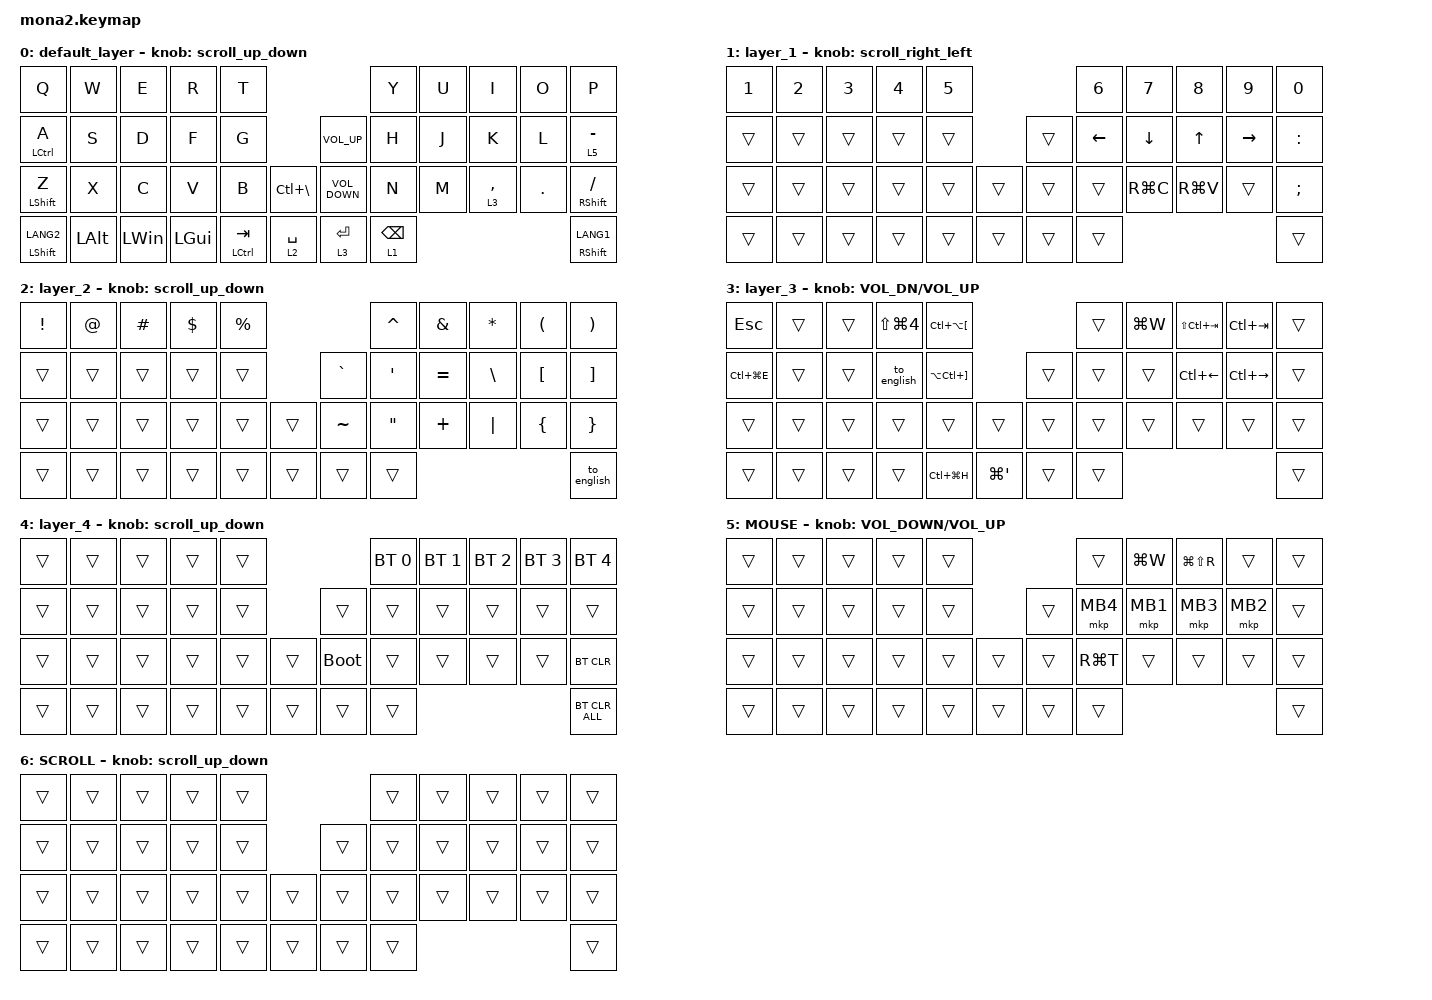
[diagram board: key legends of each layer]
#include <input/processors.dtsi>
#include <dt-bindings/zmk/input_transform.h>
#include <zephyr/dt-bindings/input/input-event-codes.h>
#include <behaviors.dtsi>
#include <dt-bindings/zmk/bt.h>
#include <dt-bindings/zmk/keys.h>
#include <dt-bindings/zmk/pointing.h>

#define ZMK_POINTING_DEFAULT_SCRL_VAL 100
#define MOUSE 5
#define SCROLL 6

&mt {
    flavor = "balanced";
    quick-tap-ms = <0>;
};

&lt {
    quick-tap-ms = <300>;
    flavor = "balanced";
    tapping-term-ms = <250>;
};

/ {
    combos {
        compatible = "zmk,combos";

        layer4_ESC {
            bindings = <&lt 4 ESC>;
            key-positions = <39 38>;
        };

        tab {
            bindings = <&kp TAB>;
            key-positions = <11 12>;
        };

        mission_control {
            bindings = <&kp LC(UP_ARROW)>;
            key-positions = <18 19>;
        };
    };

    macros {
        to_layer_0: to_layer_0 {
            compatible = "zmk,behavior-macro-one-param";
            #binding-cells = <1>;
            bindings = <&to 0 &macro_param_1to1 &kp MACRO_PLACEHOLDER>;
            label = "TO_LAYER_0";
        };

        to_english: to_english {
            compatible = "zmk,behavior-macro";
            #binding-cells = <0>;
            bindings = <&kp F10>;
            label = "TO_ENGLISH";
        };
    };

    behaviors {
        lt_to_layer_0: lt_to_layer_0 {
            compatible = "zmk,behavior-hold-tap";
            label = "LAYER_TAP_TO_0";
            bindings = <&mo>, <&to_layer_0>;

            #binding-cells = <2>;
            tapping-term-ms = <250>;
        };

        scroll_up_down: mouse_wheel_up_down {
            compatible = "zmk,behavior-sensor-rotate";
            #sensor-binding-cells = <0>;
            bindings = <&msc SCRL_DOWN>, <&msc SCRL_UP>;

            tap-ms = <20>;
        };

        scroll_right_left: mouse_wheel_right_left {
            compatible = "zmk,behavior-sensor-rotate";
            #sensor-binding-cells = <0>;
            bindings = <&msc SCRL_LEFT>, <&msc SCRL_RIGHT>;

            tap-ms = <20>;
        };
    };

    keymap {
        compatible = "zmk,keymap";

        default_layer {
            bindings = <
&kp Q                 &kp W         &kp E     &kp R         &kp T                                                  &kp Y            &kp U  &kp I        &kp O    &kp P
&mt LCTRL A           &kp S         &kp D     &kp F         &kp G                               &kp C_VOLUME_UP    &kp H            &kp J  &kp K        &kp L    &lt 5 MINUS
&mt LEFT_SHIFT Z      &kp X         &kp C     &kp V         &kp B          &kp LC(BACKSLASH)    &kp C_VOLUME_DOWN  &kp N            &kp M  &lt 3 COMMA  &kp DOT  &mt RIGHT_SHIFT SLASH
&mt LEFT_SHIFT LANG2  &kp LEFT_ALT  &kp LWIN  &kp LEFT_GUI  &mt LCTRL TAB  &lt 2 SPACE          &lt 3 ENTER        &lt 1 BACKSPACE                               &mt RIGHT_SHIFT LANG1
            >;

            sensor-bindings = <&scroll_up_down>;
        };

        layer_1 {
            bindings = <
&kp NUMBER_1  &kp NUMBER_2  &kp NUMBER_3  &kp NUMBER_4  &kp NUMBER_5                    &kp NUMBER_6  &kp NUMBER_7  &kp NUMBER_8  &kp NUMBER_9  &kp NUMBER_0
&trans        &trans        &trans        &trans        &trans                  &trans  &kp LEFT      &kp DOWN      &kp UP_ARROW  &kp RIGHT     &kp COLON
&trans        &trans        &trans        &trans        &trans        &trans    &trans  &trans        &kp RG(C)     &kp RG(V)     &trans        &kp SEMICOLON
&trans        &trans        &trans        &trans        &trans        &trans    &trans  &trans                                                  &trans
            >;

            sensor-bindings = <&scroll_right_left>;
        };

        layer_2 {
            bindings = <
&kp EXCLAMATION  &kp AT_SIGN  &kp POUND  &kp DOLLAR  &kp PERCENT                       &kp CARET          &kp AMPERSAND  &kp ASTERISK   &kp LEFT_PARENTHESIS  &kp RIGHT_PARENTHESIS
&trans           &trans       &trans     &trans      &trans                 &kp GRAVE  &kp SINGLE_QUOTE   &kp EQUAL      &kp BACKSLASH  &kp LEFT_BRACKET      &kp RIGHT_BRACKET
&trans           &trans       &trans     &trans      &trans       &trans    &kp TILDE  &kp DOUBLE_QUOTES  &kp PLUS       &kp PIPE       &kp LEFT_BRACE        &kp RIGHT_BRACE
&trans           &trans       &trans     &trans      &trans       &trans    &trans     &trans                                                                 &to_english
            >;

            sensor-bindings = <&scroll_up_down>;
        };

        layer_3 {
            bindings = <
&kp ESCAPE     &trans  &trans  &kp LS(LG(NUMBER_4))  &kp LC(LA(LEFT_BRACKET))                                   &trans  &kp LG(W)  &kp LS(LC(TAB))  &kp LC(TAB)          &trans
&kp LC(LG(E))  &trans  &trans  &to_english           &kp LA(LC(RIGHT_BRACKET))                          &trans  &trans  &trans     &kp LC(LEFT)     &kp LC(RIGHT_ARROW)  &trans
&trans         &trans  &trans  &trans                &trans                     &trans                  &trans  &trans  &trans     &trans           &trans               &trans
&trans         &trans  &trans  &trans                &kp LC(LG(H))              &kp LG(SINGLE_QUOTE)    &trans  &trans                                                   &trans
            >;

            sensor-bindings = <&inc_dec_kp C_VOL_DN C_VOL_UP>;
        };

        layer_4 {
            bindings = <
&trans  &trans  &trans  &trans  &trans                         &bt BT_SEL 0  &bt BT_SEL 1  &bt BT_SEL 2  &bt BT_SEL 3  &bt BT_SEL 4
&trans  &trans  &trans  &trans  &trans            &trans       &trans        &trans        &trans        &trans        &trans
&trans  &trans  &trans  &trans  &trans  &trans    &bootloader  &trans        &trans        &trans        &trans        &bt BT_CLR
&trans  &trans  &trans  &trans  &trans  &trans    &trans       &trans                                                  &bt BT_CLR_ALL
            >;

            sensor-bindings = <&scroll_up_down>;
        };

        MOUSE {
            bindings = <
&trans  &trans  &trans  &trans  &trans                    &trans     &kp LG(W)  &kp LG(LS(R))  &trans    &trans
&trans  &trans  &trans  &trans  &trans            &trans  &mkp MB4   &mkp MB1   &mkp MB3       &mkp MB2  &trans
&trans  &trans  &trans  &trans  &trans  &trans    &trans  &kp RG(T)  &trans     &trans         &trans    &trans
&trans  &trans  &trans  &trans  &trans  &trans    &trans  &trans                                         &trans
            >;

            sensor-bindings = <&inc_dec_kp C_VOLUME_DOWN C_VOLUME_UP>;
        };

        SCROLL {
            bindings = <
&trans  &trans  &trans  &trans  &trans                    &trans  &trans  &trans  &trans  &trans
&trans  &trans  &trans  &trans  &trans            &trans  &trans  &trans  &trans  &trans  &trans
&trans  &trans  &trans  &trans  &trans  &trans    &trans  &trans  &trans  &trans  &trans  &trans
&trans  &trans  &trans  &trans  &trans  &trans    &trans  &trans                          &trans
            >;

            sensor-bindings = <&scroll_up_down>;
        };
    };
};
